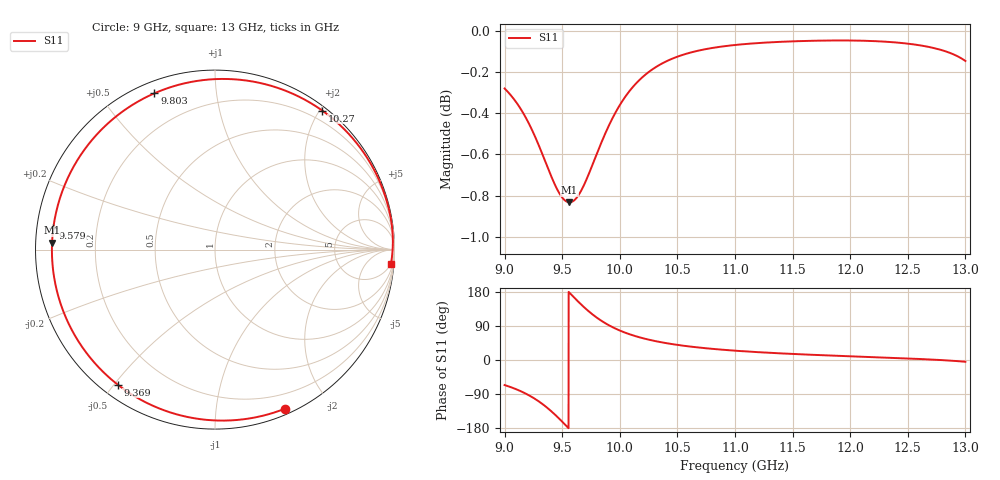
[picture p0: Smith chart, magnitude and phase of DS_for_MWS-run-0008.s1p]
! TOUCHSTONE file generated by CST DESIGN STUDIO
! Date and time: Tue Feb  4 13:46:40 2025
! Project name: C:\Work\MatlabApps\UnitCellOptimizationMatlab\CST\unitcell.cst
! Tree item: Tasks\Sweep1\SPara1\S-Parameters
! Header version: 2024
! Port assignment regex: !\s*Touchstone port\s*([0-9]+)\s*=\s*(CST MWS port|CST DES external port|CST DES block port)\s*(.+)\s* \(\"(.*)\"\)(\s*mode\s*([0-9]+))?.*
! Touchstone port assignment:
! Touchstone port 1 = CST DES external port 1 ("")
# GHz S MA R 50
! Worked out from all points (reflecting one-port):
!   4001 points, 9 GHz to 13 GHz, reference 50 ohm
!   lowest |S11| = -0.8 dB at 9.563 GHz (marker M1), VSWR 20.88, Z = 2.4 + j1.07 ohm
!   phase of S11 starts at -66 deg and turns -299 deg over the sweep
!   S11 on the Smith chart (normalised r, x): 9 GHz: 0.05, -1.53; 9.369 GHz: 0.05, -0.51; 9.579 GHz: 0.05, +0.07; 9.803 GHz: 0.05, +0.68; 10.27 GHz: 0.06, +2.04; 13 GHz: 5, -23
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9  0.9684 -66.1
9.043  0.9655 -70.5
9.109  0.9602 -78.2
9.222  0.9482 -95.0
9.3  0.9376 -109.9
9.369  0.9272 -125.8
9.432  0.9182 -142.6
9.5  0.911 -162.8
9.532  0.9092 -172.7
9.563  0.9086 177.5
9.579  0.9088 172.5
9.633  0.9115 155.8
9.695  0.9182 137.9
9.748  0.9257 124.0
9.803  0.934 111.2
9.891  0.9466 94.1
10  0.9594 77.8
10.126  0.9701 63.9
10.271  0.9783 52.3
10.378  0.9824 45.8
10.5  0.9858 39.9
10.721  0.9896 31.8
11  0.9922 24.6
11.5  0.9943 16.0
12  0.9947 9.8
12.5  0.993 4.0
12.785  0.9896 -0.1
13  0.9834 -4.7
